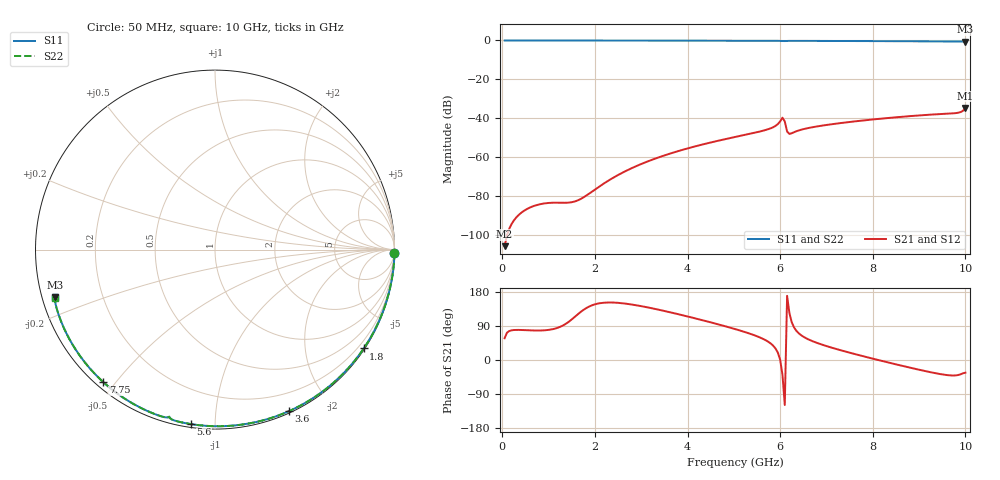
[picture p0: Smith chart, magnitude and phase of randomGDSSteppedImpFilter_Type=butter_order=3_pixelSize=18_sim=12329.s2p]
! freq	dB(S11)	phase(S11)	dB(S12)	phase(S12)
!  dB(S21)	phase(S21)	dB(S22)	phase(S22)
!S-par simulation data
#  GHz  S  DB  R 50
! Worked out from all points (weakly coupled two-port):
!   200 points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, 50 MHz to 10 GHz, reference 50 ohm
!   highest |S21| = -34.73 dB at 10 GHz (marker M1); lowest = -105.7 dB at 50 MHz (marker M2)
!   lowest |S11| = -0.6 dB at 10 GHz (marker M3), VSWR 28.20, Z = 1.81 - j7.27 ohm
!   |S11| at or under -10 dB: nowhere
!   |S22| runs from -0.6 to 0.0 dB; largest |S21 - S12| = 0
!   S11 on the Smith chart (normalised r, x): 50 MHz: open; 1.8 GHz: 0.03, -3.31; 3.6 GHz: 0.02, -1.56; 5.6 GHz: 0.02, -0.87; 7.75 GHz: 0.02, -0.47; 10 GHz: 0.04, -0.15
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0.05  -0.00 -1.0  -105.68 57.5  -105.68 57.5  -0.00 -1.0
0.85  -0.02 -16.1  -83.95 77.9  -83.95 77.9  -0.02 -16.1
1.75  -0.04 -32.7  -80.66 132.0  -80.66 132.0  -0.04 -32.7
1.8  -0.04 -33.6  -79.91 136.0  -79.91 136.0  -0.04 -33.6
2.55  -0.06 -47.1  -68.48 150.3  -68.48 150.3  -0.06 -47.1
2.95  -0.07 -54.2  -63.97 143.2  -63.97 143.2  -0.07 -54.1
3.4  -0.08 -62.0  -59.87 132.1  -59.87 132.1  -0.08 -61.9
3.6  -0.09 -65.4  -58.29 126.6  -58.29 126.6  -0.09 -65.3
5.05  -0.14 -89.2  -49.47 80.8  -49.47 80.8  -0.14 -89.2
5.6  -0.16 -97.9  -46.55 57.5  -46.55 57.5  -0.16 -97.8
5.9  -0.18 -102.7  -43.90 30.3  -43.90 30.3  -0.18 -102.6
6  -0.21 -104.4  -41.56 1.0  -41.56 1.0  -0.21 -104.3
6.05  -0.27 -105.2  -39.68 -39.0  -39.68 -39.0  -0.26 -105.1
6.1  -0.31 -105.3  -41.60 -118.8  -41.60 -118.8  -0.30 -105.3
6.15  -0.24 -105.9  -46.77 169.3  -46.77 169.3  -0.24 -105.9
6.2  -0.22 -106.7  -48.03 123.9  -48.03 123.9  -0.22 -106.7
6.7  -0.23 -114.5  -44.56 49.6  -44.56 49.6  -0.23 -114.4
7.75  -0.30 -130.1  -41.21 11.3  -41.21 11.3  -0.30 -130.0
8.35  -0.36 -138.9  -39.79 -7.0  -39.79 -7.0  -0.36 -138.8
9.8  -0.54 -160.5  -37.29 -40.5  -37.29 -40.5  -0.54 -160.4
9.9  -0.57 -162.0  -36.78 -37.6  -36.78 -37.6  -0.57 -161.9
10  -0.62 -163.4  -34.73 -33.5  -34.73 -33.5  -0.61 -163.3
